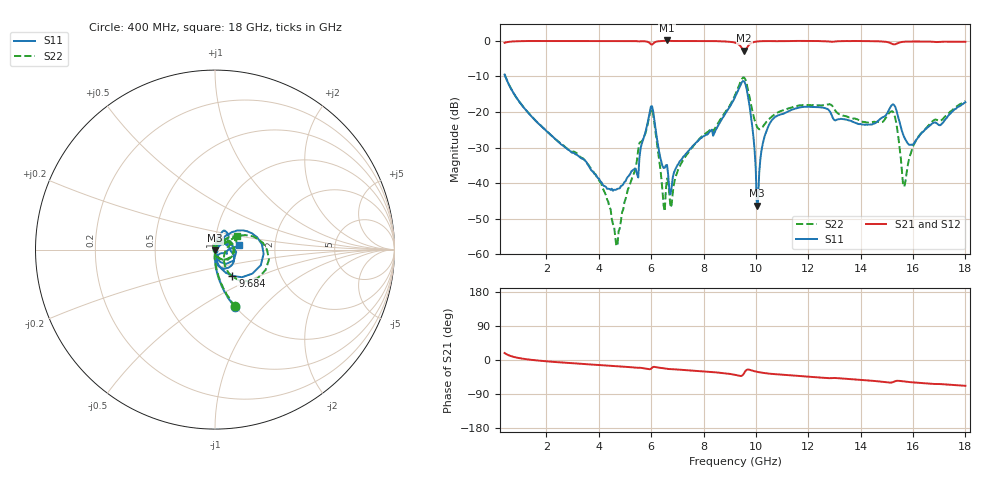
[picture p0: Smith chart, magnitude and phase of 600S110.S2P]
!  American Technical Ceramics  Date:  10/26/00
!  One Norden Lane
!  Huntington Station,  NY.  11746-2102
!  Tel:  (631) 622-4700  Fax:  (631) 622-4748
!  Part Number  600S110JW  Mounting Orientation: Horizontal
!  Description: Ultra Low ESR Microwave capacitors
!  Application: Coupling, Bypass, Tuning, DC Block
!  Filters, Matching
# GHZ S DB R 50
! Freq  |S11|  S11 Ph  |S21|  S21 Ph  |S12|  S12 Ph  |S22|  S22 Ph
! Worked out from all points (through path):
!   401 points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, 400 MHz to 18 GHz, reference 50 ohm
!   highest |S21| = 0.09 dB at 6.604 GHz (marker M1); lowest = -2.8 dB at 9.552 GHz (marker M2)
!   group delay of S21, straight-line fit = 11.3 ps
!   lowest |S11| = -46.3 dB at 10.04 GHz (marker M3), VSWR 1.01, Z = 50 - j0.482 ohm
!   |S11| at or under -10 dB: 427.7 MHz to end of sweep
!   |S22| runs from -57.7 to -9.5 dB; largest |S21 - S12| = 0.0074
!   S11 on the Smith chart (normalised r, x): 400 MHz: 0.99, -0.71; 9.684 GHz: 1.16, -0.35; 18 GHz: 1.31, +0.07
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0.4  -9.49 -71.0  -0.56 18.4  -0.56 18.5  -9.46 -70.3
3.348  -33.08 -90.1  -0.04 -10.3  -0.03 -10.2  -32.89 -92.2
4.14  -40.33 -72.6  -0.03 -13.8  -0.03 -13.8  -41.28 -101.8
4.712  -41.59 -20.5  -0.03 -16.5  -0.02 -16.4  -57.29 175.4
5.46  -37.52 21.5  -0.12 -20.6  -0.12 -20.5  -33.29 103.8
5.944  -19.95 11.6  -0.65 -24.4  -0.65 -24.3  -20.44 31.2
6.296  -30.90 -74.3  -0.12 -20.3  -0.12 -20.2  -33.03 -75.5
6.428  -35.13 -56.9  -0.06 -21.4  -0.06 -21.3  -41.96 -69.5
6.604  -34.88 -46.3  0.09 -23.0  0.09 -22.9  -38.68 8.6
6.78  -41.09 15.3  -0.06 -24.2  -0.06 -24.1  -46.03 46.0
7.264  -32.32 35.1  -0.05 -26.4  -0.05 -26.3  -32.91 64.8
9.2  -15.81 41.1  -0.53 -39.2  -0.52 -39.1  -15.30 27.6
9.552  -11.39 -18.8  -2.82 -34.3  -2.80 -34.2  -10.35 -22.1
9.684  -15.10 -56.5  -1.62 -25.1  -1.62 -25.2  -13.34 -52.1
10.036  -46.34 -89.8  -0.20 -31.1  -0.20 -31.0  -24.09 -36.3
10.608  -22.29 74.3  -0.10 -36.7  -0.09 -36.6  -21.29 17.2
12.148  -18.57 59.9  -0.06 -44.8  -0.06 -44.6  -18.12 25.7
15.096  -19.19 -18.0  -0.52 -59.5  -0.52 -59.3  -20.21 15.9
15.316  -18.48 -63.3  -0.98 -56.0  -0.96 -55.8  -21.59 -40.3
15.668  -27.12 -79.0  -0.26 -56.8  -0.27 -56.6  -40.93 170.4
16.24  -26.69 -25.7  -0.20 -60.3  -0.19 -60.1  -26.62 76.6
18  -17.26 11.4  -0.28 -68.0  -0.27 -67.8  -16.90 31.8
